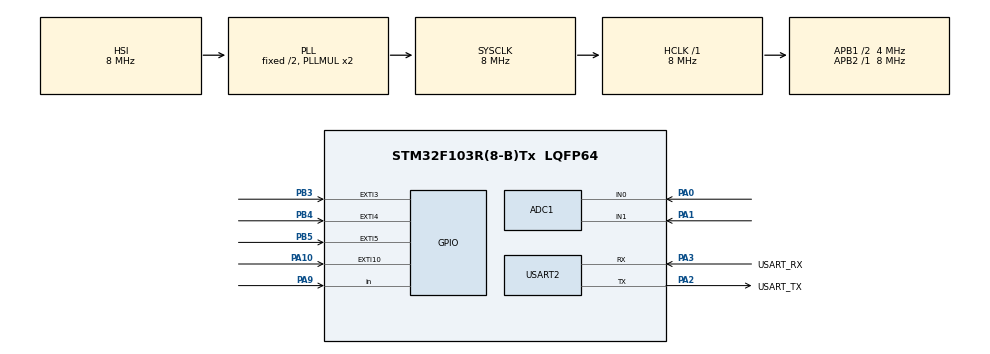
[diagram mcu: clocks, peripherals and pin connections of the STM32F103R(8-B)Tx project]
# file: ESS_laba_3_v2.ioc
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ADC1.Channel-0\#ChannelRegularConversion=ADC_CHANNEL_0
ADC1.Channel-1\#ChannelRegularConversion=ADC_CHANNEL_1
ADC1.ContinuousConvMode=ENABLE
ADC1.NbrOfConversion=2
ADC1.NbrOfConversionFlag=1
ADC1.Rank-0\#ChannelRegularConversion=1
ADC1.Rank-1\#ChannelRegularConversion=2
ADC1.SamplingTime-0\#ChannelRegularConversion=ADC_SAMPLETIME_239CYCLES_5
ADC1.SamplingTime-1\#ChannelRegularConversion=ADC_SAMPLETIME_239CYCLES_5
ADC1.master=1
Dma.ADC1.0.Direction=DMA_PERIPH_TO_MEMORY
Dma.ADC1.0.Instance=DMA1_Channel1
Dma.ADC1.0.MemDataAlignment=DMA_MDATAALIGN_WORD
Dma.ADC1.0.MemInc=DMA_MINC_ENABLE
Dma.ADC1.0.Mode=DMA_CIRCULAR
Dma.ADC1.0.PeriphDataAlignment=DMA_PDATAALIGN_WORD
Dma.ADC1.0.PeriphInc=DMA_PINC_DISABLE
Dma.ADC1.0.Priority=DMA_PRIORITY_LOW
Dma.Request0=ADC1
Mcu.Family=STM32F1
Mcu.Name=STM32F103R(8-B)Tx
Mcu.Package=LQFP64
NVIC.DMA1_Channel1_IRQn=true\:0\:0\:false\:false\:true\:false\:true\:true
NVIC.EXTI15_10_IRQn=true\:0\:0\:false\:false\:true\:true\:true\:true
NVIC.EXTI3_IRQn=true\:0\:0\:false\:false\:true\:true\:true\:true
NVIC.EXTI4_IRQn=true\:0\:0\:false\:false\:true\:true\:true\:true
NVIC.EXTI9_5_IRQn=true\:0\:0\:false\:false\:true\:true\:true\:true
NVIC.PriorityGroup=NVIC_PRIORITYGROUP_4
PA0-WKUP.Signal=ADCx_IN0
PA1.Signal=ADCx_IN1
PA10.Signal=GPXTI10
PA13.GPIO_Label=TMS
PA13.Mode=Serial_Wire
PA13.Signal=SYS_JTMS-SWDIO
PA14.GPIO_Label=TCK
PA14.Mode=Serial_Wire
PA14.Signal=SYS_JTCK-SWCLK
PA2.GPIO_Label=USART_TX
PA2.GPIO_Mode=GPIO_MODE_AF_PP
PA2.GPIO_PuPd=GPIO_NOPULL
PA2.GPIO_Speed=GPIO_SPEED_FREQ_LOW
PA2.Mode=Asynchronous
PA2.Signal=USART2_TX
PA3.GPIO_Label=USART_RX
PA3.GPIO_Mode=GPIO_MODE_AF_PP
PA3.GPIO_PuPd=GPIO_NOPULL
PA3.GPIO_Speed=GPIO_SPEED_FREQ_LOW
PA3.Mode=Asynchronous
PA3.Signal=USART2_RX
PA9.Signal=GPIO_Input
PB3.Signal=GPXTI3
PB4.Signal=GPXTI4
PB5.Signal=GPXTI5
ProjectManager.HeapSize=0x200
ProjectManager.StackSize=0x400
ProjectManager.TargetToolchain=MDK-ARM V5.32
RCC.AHBFreq_Value=8000000
RCC.APB1CLKDivider=RCC_HCLK_DIV2
RCC.APB1Freq_Value=4000000
RCC.APB1TimFreq_Value=8000000
RCC.APB2Freq_Value=8000000
RCC.APB2TimFreq_Value=8000000
RCC.HCLKFreq_Value=8000000
RCC.RTCClockSelection=RCC_RTCCLKSOURCE_LSE
RCC.SYSCLKFreq_VALUE=8000000
RCC.SYSCLKSource=RCC_SYSCLKSOURCE_PLLCLK
RCC.USBFreq_Value=8000000
SH.ADCx_IN0.0=ADC1_IN0,IN0
SH.ADCx_IN1.0=ADC1_IN1,IN1
USART2.VirtualMode=VM_ASYNC
board=NUCLEO-F103RB

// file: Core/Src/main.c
/* USER CODE BEGIN Header */
/**
  ******************************************************************************
  * @file           : main.c
  * @brief          : Main program body
  ******************************************************************************
  * @attention
  *
  * Copyright (c) 2023 STMicroelectronics.
  * All rights reserved.
  *
  * This software is licensed under terms that can be found in the LICENSE file
  * in the root directory of this software component.
  * If no LICENSE file comes with this software, it is provided AS-IS.
  *
  ******************************************************************************
  */
/* USER CODE END Header */
#include "main.h"

/* USER CODE BEGIN Includes */
#include "string.h"
#include "stdio.h"
/* USER CODE END Includes */

/* USER CODE BEGIN PD */
#define BT_MIN_DELAY 300
/* USER CODE END PD */

ADC_HandleTypeDef hadc1;
DMA_HandleTypeDef hdma_adc1;

UART_HandleTypeDef huart2;

/* USER CODE BEGIN PV */
uint32_t joystickBuffer[2];
long x, y;
uint32_t prevTime = 0;
/* USER CODE END PV */

void SystemClock_Config(void);
static void MX_GPIO_Init(void);
static void MX_DMA_Init(void);
static void MX_ADC1_Init(void);
static void MX_USART2_UART_Init(void);

/* USER CODE BEGIN 0 */
void HAL_GPIO_EXTI_Callback(uint16_t GPIO_Pin)
{
		uint32_t curTime = HAL_GetTick();
		uint32_t diff = curTime - prevTime;
		prevTime = curTime;
		if(diff < BT_MIN_DELAY) return;

		char message[] = "bt:?\n";
		switch(GPIO_Pin)
		{
			case GPIO_PIN_3:
				message[3] = 'R';
				break;
			case GPIO_PIN_4:
				message[3] = 'L';
				break;
			case GPIO_PIN_5:
				message[3] = 'D';
				break;
			case GPIO_PIN_10:
				message[3] = 'U';
				break;
			default:
				return;
		}
		HAL_UART_Transmit(&huart2, (uint8_t*)message, strlen(message), HAL_MAX_DELAY);
}
/* USER CODE END 0 */

int main(void)
{

  /* MCU Configuration--------------------------------------------------------*/

  /* Reset of all peripherals, Initializes the Flash interface and the Systick. */
  HAL_Init();

  /* Configure the system clock */
  SystemClock_Config();

  /* Initialize all configured peripherals */
  MX_GPIO_Init();
  MX_DMA_Init();
  MX_ADC1_Init();
  MX_USART2_UART_Init();
  /* USER CODE BEGIN 2 */
	HAL_ADC_Start_DMA(&hadc1, joystickBuffer, 2);
  /* USER CODE END 2 */

  /* Infinite loop */
  /* USER CODE BEGIN WHILE */
  while (1)
  {
		x = (long)joystickBuffer[0];
		y = (long)joystickBuffer[1];

		char message[100];
		snprintf(message, 100, "js:%lu,%lu\n", x, y);
		HAL_UART_Transmit(&huart2, (uint8_t*)message, strlen(message), HAL_MAX_DELAY);
		HAL_Delay(100);
    /* USER CODE END WHILE */

  }
}

void SystemClock_Config(void)
{
  RCC_OscInitTypeDef RCC_OscInitStruct = {0};
  RCC_ClkInitTypeDef RCC_ClkInitStruct = {0};
  RCC_PeriphCLKInitTypeDef PeriphClkInit = {0};

  /** Initializes the RCC Oscillators according to the specified parameters
  * in the RCC_OscInitTypeDef structure.
  */
  RCC_OscInitStruct.OscillatorType = RCC_OSCILLATORTYPE_HSI;
  RCC_OscInitStruct.HSIState = RCC_HSI_ON;
  RCC_OscInitStruct.HSICalibrationValue = RCC_HSICALIBRATION_DEFAULT;
  RCC_OscInitStruct.PLL.PLLState = RCC_PLL_ON;
  RCC_OscInitStruct.PLL.PLLSource = RCC_PLLSOURCE_HSI_DIV2;
  RCC_OscInitStruct.PLL.PLLMUL = RCC_PLL_MUL2;
  if (HAL_RCC_OscConfig(&RCC_OscInitStruct) != HAL_OK)
  {
    Error_Handler();
  }

  /** Initializes the CPU, AHB and APB buses clocks
  */
  RCC_ClkInitStruct.ClockType = RCC_CLOCKTYPE_HCLK|RCC_CLOCKTYPE_SYSCLK
                              |RCC_CLOCKTYPE_PCLK1|RCC_CLOCKTYPE_PCLK2;
  RCC_ClkInitStruct.SYSCLKSource = RCC_SYSCLKSOURCE_PLLCLK;
  RCC_ClkInitStruct.AHBCLKDivider = RCC_SYSCLK_DIV1;
  RCC_ClkInitStruct.APB1CLKDivider = RCC_HCLK_DIV2;
  RCC_ClkInitStruct.APB2CLKDivider = RCC_HCLK_DIV1;

  if (HAL_RCC_ClockConfig(&RCC_ClkInitStruct, FLASH_LATENCY_0) != HAL_OK)
  {
    Error_Handler();
  }
  PeriphClkInit.PeriphClockSelection = RCC_PERIPHCLK_ADC;
  PeriphClkInit.AdcClockSelection = RCC_ADCPCLK2_DIV2;
  if (HAL_RCCEx_PeriphCLKConfig(&PeriphClkInit) != HAL_OK)
  {
    Error_Handler();
  }
}

static void MX_ADC1_Init(void)
{

  ADC_ChannelConfTypeDef sConfig = {0};

  /** Common config
  */
  hadc1.Instance = ADC1;
  hadc1.Init.ScanConvMode = ADC_SCAN_ENABLE;
  hadc1.Init.ContinuousConvMode = ENABLE;
  hadc1.Init.DiscontinuousConvMode = DISABLE;
  hadc1.Init.ExternalTrigConv = ADC_SOFTWARE_START;
  hadc1.Init.DataAlign = ADC_DATAALIGN_RIGHT;
  hadc1.Init.NbrOfConversion = 2;
  if (HAL_ADC_Init(&hadc1) != HAL_OK)
  {
    Error_Handler();
  }

  /** Configure Regular Channel
  */
  sConfig.Channel = ADC_CHANNEL_0;
  sConfig.Rank = ADC_REGULAR_RANK_1;
  sConfig.SamplingTime = ADC_SAMPLETIME_239CYCLES_5;
  if (HAL_ADC_ConfigChannel(&hadc1, &sConfig) != HAL_OK)
  {
    Error_Handler();
  }

  /** Configure Regular Channel
  */
  sConfig.Channel = ADC_CHANNEL_1;
  sConfig.Rank = ADC_REGULAR_RANK_2;
  if (HAL_ADC_ConfigChannel(&hadc1, &sConfig) != HAL_OK)
  {
    Error_Handler();
  }

}

static void MX_USART2_UART_Init(void)
{

  huart2.Instance = USART2;
  huart2.Init.BaudRate = 115200;
  huart2.Init.WordLength = UART_WORDLENGTH_8B;
  huart2.Init.StopBits = UART_STOPBITS_1;
  huart2.Init.Parity = UART_PARITY_NONE;
  huart2.Init.Mode = UART_MODE_TX_RX;
  huart2.Init.HwFlowCtl = UART_HWCONTROL_NONE;
  huart2.Init.OverSampling = UART_OVERSAMPLING_16;
  if (HAL_UART_Init(&huart2) != HAL_OK)
  {
    Error_Handler();
  }

}

static void MX_DMA_Init(void)
{

  /* DMA controller clock enable */
  __HAL_RCC_DMA1_CLK_ENABLE();

  /* DMA interrupt init */
  /* DMA1_Channel1_IRQn interrupt configuration */
  HAL_NVIC_SetPriority(DMA1_Channel1_IRQn, 0, 0);
  HAL_NVIC_EnableIRQ(DMA1_Channel1_IRQn);

}

static void MX_GPIO_Init(void)
{
  GPIO_InitTypeDef GPIO_InitStruct = {0};

  /* GPIO Ports Clock Enable */
  __HAL_RCC_GPIOA_CLK_ENABLE();
  __HAL_RCC_GPIOB_CLK_ENABLE();

  /*Configure GPIO pin : PA9 */
  GPIO_InitStruct.Pin = GPIO_PIN_9;
  GPIO_InitStruct.Mode = GPIO_MODE_INPUT;
  GPIO_InitStruct.Pull = GPIO_NOPULL;
  HAL_GPIO_Init(GPIOA, &GPIO_InitStruct);

  /*Configure GPIO pin : PA10 */
  GPIO_InitStruct.Pin = GPIO_PIN_10;
  GPIO_InitStruct.Mode = GPIO_MODE_IT_RISING;
  GPIO_InitStruct.Pull = GPIO_NOPULL;
  HAL_GPIO_Init(GPIOA, &GPIO_InitStruct);

  /*Configure GPIO pins : PB3 PB4 PB5 */
  GPIO_InitStruct.Pin = GPIO_PIN_3|GPIO_PIN_4|GPIO_PIN_5;
  GPIO_InitStruct.Mode = GPIO_MODE_IT_RISING;
  GPIO_InitStruct.Pull = GPIO_NOPULL;
  HAL_GPIO_Init(GPIOB, &GPIO_InitStruct);

  /* EXTI interrupt init*/
  HAL_NVIC_SetPriority(EXTI3_IRQn, 0, 0);
  HAL_NVIC_EnableIRQ(EXTI3_IRQn);

  HAL_NVIC_SetPriority(EXTI4_IRQn, 0, 0);
  HAL_NVIC_EnableIRQ(EXTI4_IRQn);

  HAL_NVIC_SetPriority(EXTI9_5_IRQn, 0, 0);
  HAL_NVIC_EnableIRQ(EXTI9_5_IRQn);

  HAL_NVIC_SetPriority(EXTI15_10_IRQn, 0, 0);
  HAL_NVIC_EnableIRQ(EXTI15_10_IRQn);

}

void Error_Handler(void)
{
  __disable_irq();
  while (1)
  {
  }
}
